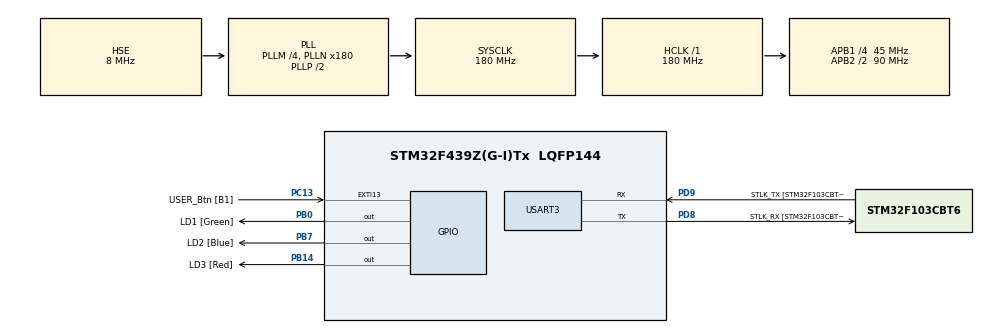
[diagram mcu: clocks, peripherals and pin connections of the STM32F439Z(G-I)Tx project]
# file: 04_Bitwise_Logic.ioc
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Mcu.Family=STM32F4
Mcu.Name=STM32F439Z(G-I)Tx
Mcu.Package=LQFP144
NVIC.PriorityGroup=NVIC_PRIORITYGROUP_4
PB0.GPIO_Label=LD1 [Green]
PB0.Signal=GPIO_Output
PB14.GPIO_Label=LD3 [Red]
PB14.Signal=GPIO_Output
PB7.GPIO_Label=LD2 [Blue]
PB7.Signal=GPIO_Output
PC13.GPIO_Label=USER_Btn [B1]
PC13.Signal=GPXTI13
PC14/OSC32_IN.Mode=LSE-External-Oscillator
PC14/OSC32_IN.Signal=RCC_OSC32_IN
PC15/OSC32_OUT.Mode=LSE-External-Oscillator
PC15/OSC32_OUT.Signal=RCC_OSC32_OUT
PD8.GPIO_Label=STLK_RX [STM32F103CBT6_PA3]
PD8.Mode=Asynchronous
PD8.Signal=USART3_TX
PD9.GPIO_Label=STLK_TX [STM32F103CBT6_PA2]
PD9.Mode=Asynchronous
PD9.Signal=USART3_RX
PH0/OSC_IN.Mode=HSE-External-Oscillator
PH0/OSC_IN.Signal=RCC_OSC_IN
PH1/OSC_OUT.Mode=HSE-External-Oscillator
PH1/OSC_OUT.Signal=RCC_OSC_OUT
ProjectManager.HeapSize=0x200
ProjectManager.StackSize=0x400
ProjectManager.TargetToolchain=STM32CubeIDE
RCC.48MHZClocksFreq_Value=51428571.428571425
RCC.AHBFreq_Value=180000000
RCC.APB1CLKDivider=RCC_HCLK_DIV4
RCC.APB1Freq_Value=45000000
RCC.APB1TimFreq_Value=90000000
RCC.APB2CLKDivider=RCC_HCLK_DIV2
RCC.APB2Freq_Value=90000000
RCC.APB2TimFreq_Value=180000000
RCC.CortexFreq_Value=180000000
RCC.HCLKFreq_Value=180000000
RCC.HSE_VALUE=8000000
RCC.HSI_VALUE=16000000
RCC.PLLM=4
RCC.PLLMUL=RCC_PLL_MUL9
RCC.PLLN=180
RCC.PLLQ=7
RCC.PLLSourceVirtual=RCC_PLLSOURCE_HSE
RCC.PRESCALERUSB=RCC_USBCLKSOURCE_PLL_DIV1_5
RCC.SYSCLKFreq_VALUE=180000000
RCC.SYSCLKSource=RCC_SYSCLKSOURCE_PLLCLK
RCC.SYSCLKSourceVirtual=RCC_SYSCLKSOURCE_PLLCLK
RCC.USBFreq_Value=48000000
RCC.VCOOutputFreq_Value=360000000
USART3.VirtualMode=VM_ASYNC
board=NUCLEO-F439ZI

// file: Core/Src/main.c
/* USER CODE BEGIN Header */
/**
  ******************************************************************************
  * @file           : main.c
  * @brief          : Main program body
  ******************************************************************************
  * @attention
  *
  * Copyright (c) 2026 STMicroelectronics.
  * All rights reserved.
  *
  * This software is licensed under terms that can be found in the LICENSE file
  * in the root directory of this software component.
  * If no LICENSE file comes with this software, it is provided AS-IS.
  *
  ******************************************************************************
  */
/* USER CODE END Header */
#include "main.h"

/* USER CODE BEGIN Includes */
#include <stdio.h>
#include <string.h>
/* USER CODE END Includes */

/* USER CODE BEGIN PD */
/* --- CONSTANTES Y MÁSCARAS --- */
#define SENSOR_I2C_ADDR    0x3C  // Dirección de 7 bits (0011 1100)
#define BIT_ERROR_FLAG     (1 << 3) // Máscara para el cuarto bit (0000 1000)
/* USER CODE END PD */

UART_HandleTypeDef huart3;

void SystemClock_Config(void);
static void MX_GPIO_Init(void);
static void MX_USART3_UART_Init(void);
/* USER CODE BEGIN PFP */
/* Prototipos */
void Debug_Log(const char *msg);
/* USER CODE END PFP */

/* USER CODE BEGIN 0 */
void Debug_Log(const char *msg) {
    HAL_UART_Transmit(&huart3, (uint8_t*)msg, strlen(msg), 100);
}
/* USER CODE END 0 */

int main(void)
{

  /* MCU Configuration--------------------------------------------------------*/

  /* Reset of all peripherals, Initializes the Flash interface and the Systick. */
  HAL_Init();

  /* Configure the system clock */
  SystemClock_Config();

  /* Initialize all configured peripherals */
  MX_GPIO_Init();
  MX_USART3_UART_Init();
  /* USER CODE BEGIN 2 */
  char buffer[128];
    uint8_t registro_ficticio = 0x00;

    Debug_Log("\r\n=============================================\r\n");
    Debug_Log("      EJEMPLO 04: LOGICA DE BITS (BITWISE)   \r\n");
    Debug_Log("=============================================\r\n");

    /* --- 1. CASO DE USO I2C (Desplazamiento) --- */
    Debug_Log("[I2C Caso de Estudio]\r\n");
    uint8_t addr_shifted = (SENSOR_I2C_ADDR << 1); // Desplazamos para dejar bit R/W
    uint8_t addr_read    = addr_shifted | 0x01;    // Ponemos el último bit en 1

    sprintf(buffer, "Dir. Original (7-bit): 0x%02X\r\n", SENSOR_I2C_ADDR); Debug_Log(buffer);
    sprintf(buffer, "Dir. Write (Shift <<1): 0x%02X\r\n", addr_shifted);    Debug_Log(buffer);
    sprintf(buffer, "Dir. Read  (OR 0x01):  0x%02X\r\n", addr_read);       Debug_Log(buffer);
    Debug_Log("---------------------------------------------\r\n");

    /* --- 2. OPERACIONES BÁSICAS EN REGISTROS --- */
    Debug_Log("[Bit Manipulation]\r\n");

    // SET: Encendemos un bit específico usando OR
    registro_ficticio |= BIT_ERROR_FLAG;
    sprintf(buffer, "SET Bit 3 (Error): 0x%02X\r\n", registro_ficticio); Debug_Log(buffer);

    // CHECK: Verificamos si un bit está encendido usando AND
    if (registro_ficticio & BIT_ERROR_FLAG) {
        Debug_Log("CHECK: El bit de error esta activo!\r\n");
    }

    // CLEAR: Apagamos el bit usando AND y NOT (Máscara invertida)
    registro_ficticio &= ~BIT_ERROR_FLAG;
    sprintf(buffer, "CLEAR Bit 3:       0x%02X\r\n", registro_ficticio); Debug_Log(buffer);

    // TOGGLE: Conmutamos con XOR
    registro_ficticio ^= 0xFF; // Invertimos todos los bits
    sprintf(buffer, "TOGGLE All (XOR):  0x%02X\r\n", registro_ficticio); Debug_Log(buffer);

    Debug_Log("=============================================\r\n");
  /* USER CODE END 2 */

  /* Infinite loop */
  while (1)
  {

    /* USER CODE BEGIN 3 */
	  HAL_GPIO_TogglePin(GPIOB, LD3_Pin); // LED Rojo parpadea
	  HAL_Delay(2000);
  }
  /* USER CODE END 3 */
}

void SystemClock_Config(void)
{
  RCC_OscInitTypeDef RCC_OscInitStruct = {0};
  RCC_ClkInitTypeDef RCC_ClkInitStruct = {0};

  /** Configure the main internal regulator output voltage
  */
  __HAL_RCC_PWR_CLK_ENABLE();
  __HAL_PWR_VOLTAGESCALING_CONFIG(PWR_REGULATOR_VOLTAGE_SCALE1);

  /** Initializes the RCC Oscillators according to the specified parameters
  * in the RCC_OscInitTypeDef structure.
  */
  RCC_OscInitStruct.OscillatorType = RCC_OSCILLATORTYPE_HSE;
  RCC_OscInitStruct.HSEState = RCC_HSE_ON;
  RCC_OscInitStruct.PLL.PLLState = RCC_PLL_ON;
  RCC_OscInitStruct.PLL.PLLSource = RCC_PLLSOURCE_HSE;
  RCC_OscInitStruct.PLL.PLLM = 4;
  RCC_OscInitStruct.PLL.PLLN = 180;
  RCC_OscInitStruct.PLL.PLLP = RCC_PLLP_DIV2;
  RCC_OscInitStruct.PLL.PLLQ = 7;
  if (HAL_RCC_OscConfig(&RCC_OscInitStruct) != HAL_OK)
  {
    Error_Handler();
  }

  /** Activate the Over-Drive mode
  */
  if (HAL_PWREx_EnableOverDrive() != HAL_OK)
  {
    Error_Handler();
  }

  /** Initializes the CPU, AHB and APB buses clocks
  */
  RCC_ClkInitStruct.ClockType = RCC_CLOCKTYPE_HCLK|RCC_CLOCKTYPE_SYSCLK
                              |RCC_CLOCKTYPE_PCLK1|RCC_CLOCKTYPE_PCLK2;
  RCC_ClkInitStruct.SYSCLKSource = RCC_SYSCLKSOURCE_PLLCLK;
  RCC_ClkInitStruct.AHBCLKDivider = RCC_SYSCLK_DIV1;
  RCC_ClkInitStruct.APB1CLKDivider = RCC_HCLK_DIV4;
  RCC_ClkInitStruct.APB2CLKDivider = RCC_HCLK_DIV2;

  if (HAL_RCC_ClockConfig(&RCC_ClkInitStruct, FLASH_LATENCY_5) != HAL_OK)
  {
    Error_Handler();
  }
}

static void MX_USART3_UART_Init(void)
{

  huart3.Instance = USART3;
  huart3.Init.BaudRate = 115200;
  huart3.Init.WordLength = UART_WORDLENGTH_8B;
  huart3.Init.StopBits = UART_STOPBITS_1;
  huart3.Init.Parity = UART_PARITY_NONE;
  huart3.Init.Mode = UART_MODE_TX_RX;
  huart3.Init.HwFlowCtl = UART_HWCONTROL_NONE;
  huart3.Init.OverSampling = UART_OVERSAMPLING_16;
  if (HAL_UART_Init(&huart3) != HAL_OK)
  {
    Error_Handler();
  }

}

static void MX_GPIO_Init(void)
{
  GPIO_InitTypeDef GPIO_InitStruct = {0};

  /* GPIO Ports Clock Enable */
  __HAL_RCC_GPIOC_CLK_ENABLE();
  __HAL_RCC_GPIOH_CLK_ENABLE();
  __HAL_RCC_GPIOB_CLK_ENABLE();
  __HAL_RCC_GPIOD_CLK_ENABLE();

  /*Configure GPIO pin Output Level */
  HAL_GPIO_WritePin(GPIOB, LD1_Pin|LD3_Pin|LD2_Pin, GPIO_PIN_RESET);

  /*Configure GPIO pin : USER_Btn_Pin */
  GPIO_InitStruct.Pin = USER_Btn_Pin;
  GPIO_InitStruct.Mode = GPIO_MODE_IT_RISING;
  GPIO_InitStruct.Pull = GPIO_NOPULL;
  HAL_GPIO_Init(USER_Btn_GPIO_Port, &GPIO_InitStruct);

  /*Configure GPIO pins : LD1_Pin LD3_Pin LD2_Pin */
  GPIO_InitStruct.Pin = LD1_Pin|LD3_Pin|LD2_Pin;
  GPIO_InitStruct.Mode = GPIO_MODE_OUTPUT_PP;
  GPIO_InitStruct.Pull = GPIO_NOPULL;
  GPIO_InitStruct.Speed = GPIO_SPEED_FREQ_LOW;
  HAL_GPIO_Init(GPIOB, &GPIO_InitStruct);

}

void Error_Handler(void)
{
  __disable_irq();
  while (1)
  {
  }
}
